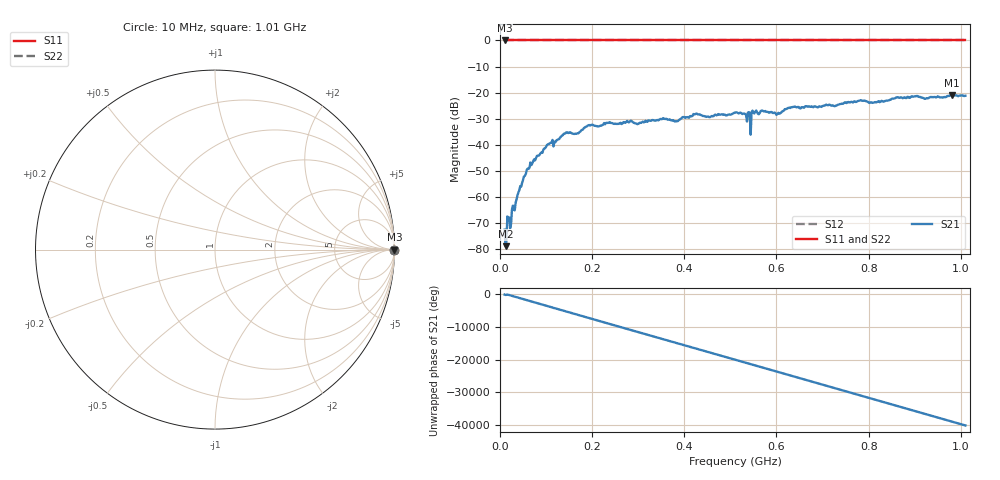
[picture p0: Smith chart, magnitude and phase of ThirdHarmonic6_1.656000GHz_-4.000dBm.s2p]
! 8/16/2025 7:49:53 PM
! C:\ANRITSUVNA\TEMP\TEMP.S2P
! CHANNEL.1
! TR.MEASUREMENT
! RAW.DATA
! RF.CORRECTION.OFF
! AVERAGING.OFF
! IF.BANDWIDTH: 5KHZ
! SWEEPTYPE:  FREQ.SWEEP(Linear)
! Reference Plane Port Info
! PORT:  PORT1  PORT2
! DISTANCE:  0  m  0  m
! TIME:  0  s  0  s
! PHASE.OFFSET:  0  deg.  0  deg.
! LOSS:  0  dB  0  dB
! REF.LOSS:  0  dB  0  dB
! REF.FREQ:  0  Hz  0  Hz
! Power Info
! POWER:  -20  dBm  -20  dBm
! EFF.POWER:  -20  dBm  -20  dBm
! SOURCE.ATTEN:  0  dB  0  dB
! TEST.ATTEN:  0  dB  0  dB
# GHZ S RI R 50.0
! FREQ.GHZ  S11RE  S11IM  S21RE  S21IM  S12RE  S12IM  S22RE  S22IM
!; PortSelection: Port_12
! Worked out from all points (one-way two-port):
!   501 points, 10 MHz to 1.01 GHz, reference 50 ohm
!   highest |S21| = -20.86 dB at 980 MHz (marker M1); lowest = -78.8 dB at 12 MHz (marker M2)
!   lowest |S11| = 0.0 dB at 10 MHz (marker M3)
!   |S11| at or under -10 dB: nowhere
!   |S22| runs from 0.0 to 0.0 dB; largest |S21 - S12| = 1.1
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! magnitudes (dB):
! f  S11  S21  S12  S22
! 10 MHz  0.0  -72.4  0.0  0.0
! 12 MHz  0.0  -78.8  0.0  0.0
! 48 MHz  0.0  -54.5  0.0  0.0
! 70 MHz  0.0  -47.1  0.0  0.0
! 110 MHz  0.0  -39.2  0.0  0.0
! 142 MHz  0.0  -35.6  0.0  0.0
! 178 MHz  0.0  -34.2  0.0  0.0
! 234 MHz  0.0  -31.6  0.0  0.0
! 344 MHz  0.0  -30.6  0.0  0.0
! 382 MHz  0.0  -30.9  0.0  0.0
! 424 MHz  0.0  -28.2  0.0  0.0
! 452 MHz  0.0  -29.1  0.0  0.0
! 510 MHz  0.0  -27.6  0.0  0.0
! 538 MHz  0.0  -27.7  0.0  0.0
! 540 MHz  0.0  -27.4  0.0  0.0
! 552 MHz  0.0  -27.9  0.0  0.0
! 604 MHz  0.0  -27.7  0.0  0.0
! 636 MHz  0.0  -25.4  0.0  0.0
! 678 MHz  0.0  -25.5  0.0  0.0
! 844 MHz  0.0  -22.9  0.0  0.0
! 980 MHz  0.0  -20.9  0.0  0.0
! 1.01 GHz  0.0  -21.2  0.0  0.0
